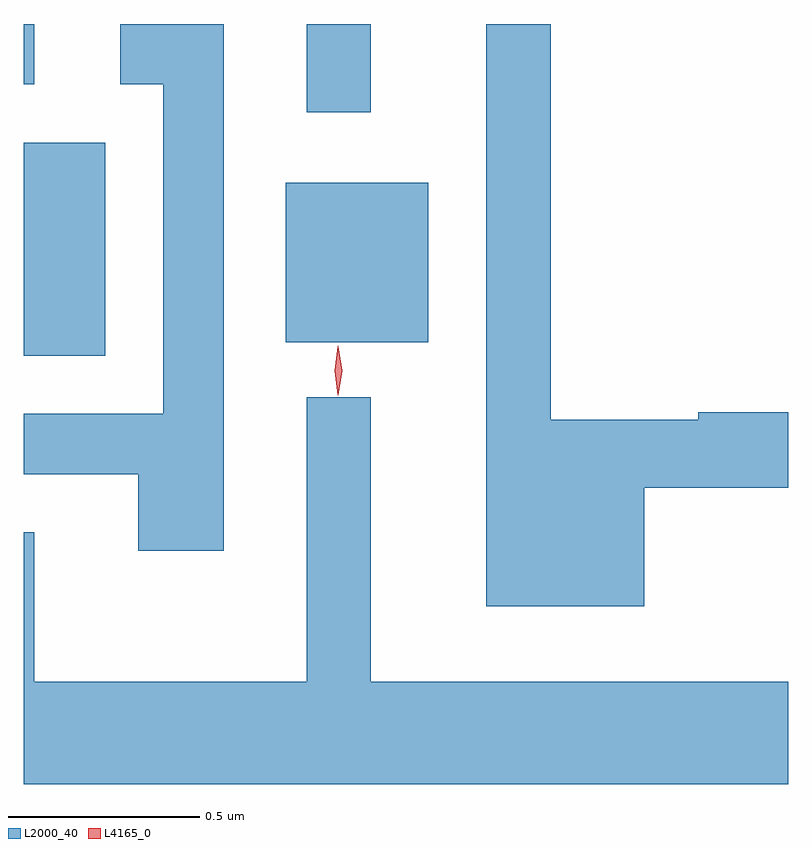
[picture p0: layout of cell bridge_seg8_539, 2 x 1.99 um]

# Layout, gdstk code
import gdstk
lib = gdstk.Library(unit=1e-6, precision=1e-09)
def R(c, l, rs):  # rectangles x0, y0, x1, y1
    for r in rs: c.add(gdstk.rectangle(r[:2], r[2:], *l))
def P(c, l, *ps):  # polygons
    for p in ps: c.add(gdstk.Polygon(p, *l))
L2000_40 = (2000, 40)
L4165_0 = (4165, 0)

bridge_seg8_539 = lib.new_cell('bridge_seg8_539')
R(bridge_seg8_539, L2000_40, [(318.211,1826.436,318.424,1826.994), (318.896,1826.471,319.269,1826.889), (318.951,1827.073,319.119,1827.304), (318.211,1827.146,318.239,1827.304)])
P(bridge_seg8_539, L2000_40, [(319.834,1826.091),(320.211,1826.091),(320.211,1826.289),(319.976,1826.289),(319.976,1826.269),(319.589,1826.269),(319.589,1827.304),(319.421,1827.304),(319.421,1825.781),(319.834,1825.781)],
  [(318.734,1827.304),(318.463,1827.304),(318.463,1827.146),(318.576,1827.146),(318.576,1826.284),(318.211,1826.284),(318.211,1826.126),(318.511,1826.126),(318.511,1825.926),(318.734,1825.926)],
  [(320.211,1825.584),(319.119,1825.584),(319.119,1826.328),(318.951,1826.328),(318.951,1825.584),(318.239,1825.584),(318.239,1825.974),(318.211,1825.974),(318.211,1825.316),(320.211,1825.316)])
P(bridge_seg8_539, L4165_0, [(319.033,1826.333),(319.024,1826.397),(319.033,1826.461),(319.034,1826.462),(319.034,1826.461),(319.044,1826.397),(319.034,1826.333),(319.034,1826.333)])

lib.write_gds('bridge_seg8_539.gds')
